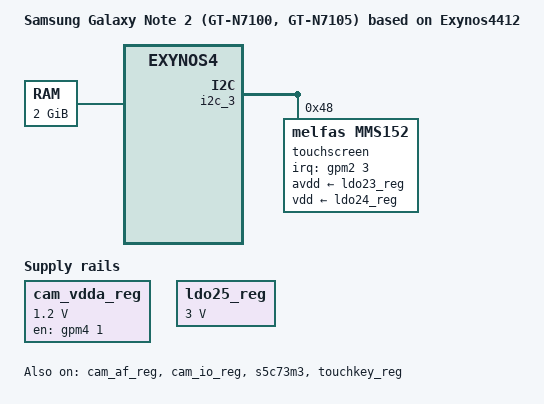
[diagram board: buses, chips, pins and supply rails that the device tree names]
// SPDX-License-Identifier: GPL-2.0
/dts-v1/;
#include "exynos4412-midas.dtsi"

/ {
	compatible = "samsung,n710x", "samsung,midas", "samsung,exynos4412", "samsung,exynos4";
	model = "Samsung Galaxy Note 2 (GT-N7100, GT-N7105) based on Exynos4412";
	chassis-type = "handset";

	memory@40000000 {
		device_type = "memory";
		reg = <0x40000000 0x80000000>;
	};

	/* bootargs are passed in by bootloader */

	cam_vdda_reg: voltage-regulator-10 {
		compatible = "regulator-fixed";
		regulator-name = "CAM_SENSOR_CORE_1.2V";
		regulator-min-microvolt = <1200000>;
		regulator-max-microvolt = <1200000>;
		gpio = <&gpm4 1 GPIO_ACTIVE_HIGH>;
		enable-active-high;
	};
};

&buck9_reg {
	maxim,ena-gpios = <&gpm1 0 GPIO_ACTIVE_HIGH>;
};

&cam_af_reg {
	gpio = <&gpm1 1 GPIO_ACTIVE_HIGH>;
	status = "okay";
};

&cam_io_reg {
	gpio = <&gpm0 7 GPIO_ACTIVE_HIGH>;
	status = "okay";
};

&i2c_3 {
	samsung,i2c-sda-delay = <100>;
	samsung,i2c-slave-addr = <0x10>;
	samsung,i2c-max-bus-freq = <400000>;
	pinctrl-0 = <&i2c3_bus>;
	pinctrl-names = "default";
	status = "okay";

	touchscreen@48 {
		compatible = "melfas,mms152";
		reg = <0x48>;
		interrupt-parent = <&gpm2>;
		interrupts = <3 IRQ_TYPE_EDGE_FALLING>;
		touchscreen-size-x = <720>;
		touchscreen-size-y = <1280>;
		avdd-supply = <&ldo23_reg>;
		vdd-supply = <&ldo24_reg>;
	};
};

&ldo13_reg {
	regulator-name = "VCC_1.8V_LCD";
	regulator-always-on;
};

&ldo25_reg {
	regulator-name = "VCI_3.0V_LCD";
	regulator-min-microvolt = <3000000>;
	regulator-max-microvolt = <3000000>;
};

&s5c73m3 {
	standby-gpios = <&gpm0 6 GPIO_ACTIVE_LOW>;   /* ISP_STANDBY */
	vdda-supply = <&cam_vdda_reg>;
	status = "okay";
};

&sound {
	samsung,audio-routing =
		"HP", "HPOUT1L",
		"HP", "HPOUT1R",

		"SPK", "SPKOUTLN",
		"SPK", "SPKOUTLP",

		"RCV", "HPOUT2N",
		"RCV", "HPOUT2P",

		"HDMI", "LINEOUT1N",
		"HDMI", "LINEOUT1P",

		"LINE", "LINEOUT2N",
		"LINE", "LINEOUT2P",

		"IN1LP", "MICBIAS2",
		"IN1LN", "MICBIAS2",
		"Headset Mic", "MICBIAS2",

		"IN1RP", "Sub Mic",
		"IN1RN", "Sub Mic",

		"IN2LP:VXRN", "Main Mic",
		"IN2LN", "Main Mic",

		"IN2RN", "FM In",
		"IN2RP:VXRP", "FM In";
};

&submic_bias_reg {
	regulator-always-on;
};

&touchkey_reg {
	gpio = <&gpm0 5 GPIO_ACTIVE_HIGH>;
	status = "okay";
};
